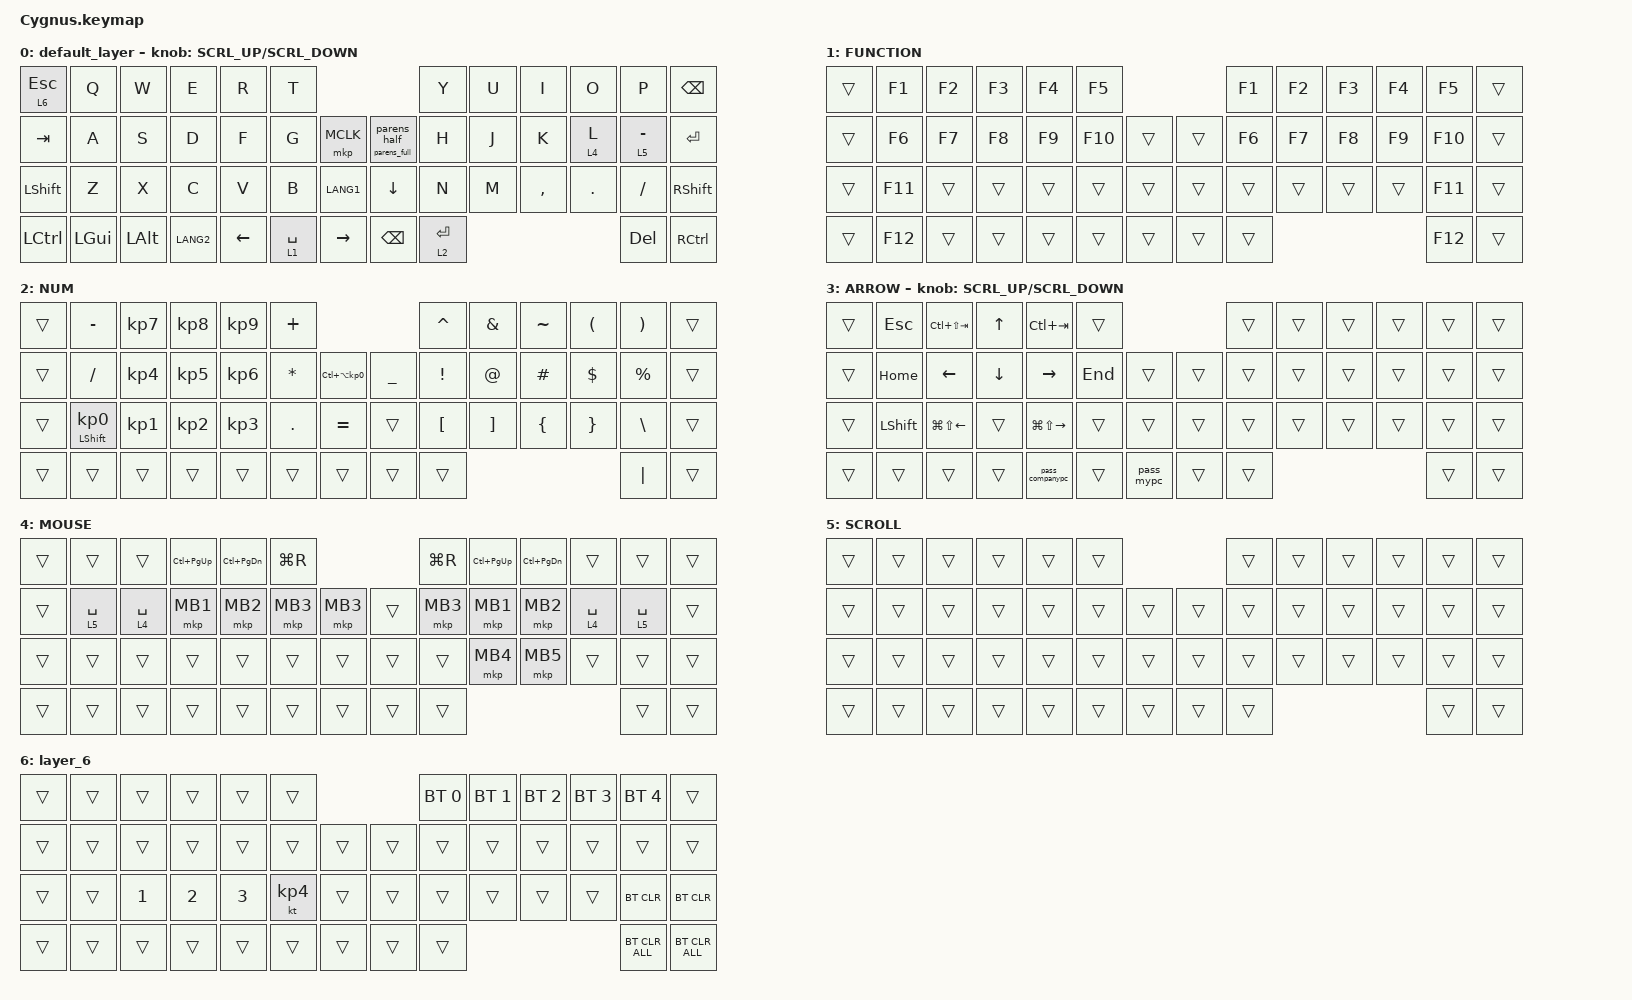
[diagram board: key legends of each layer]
#define ZMK_POINTING_DEFAULT_SCRL_VAL 300    // default: 10

#include <behaviors.dtsi>
#include <dt-bindings/zmk/bt.h>
#include <dt-bindings/zmk/keys.h>
#include <dt-bindings/zmk/pointing.h>

#define MOUSE 4
#define SCROLL 5
#define NUM 6

&mt {
    flavor = "balanced";
    quick-tap-ms = <0>;
};

/ {
    combos {
        compatible = "zmk,combos";

        double_quotation {
            bindings = <&kp DOUBLE_QUOTES>;
            key-positions = <20 21>;
        };

        // J(21) + K(22) で左クリック
        left_click {
            bindings = <&mkp MB1>;
            key-positions = <21 22>;
        };

        // K(22) + L(23) で右クリック
        right_click {
            bindings = <&mkp MB2>;
            key-positions = <22 23>;
        };

        // U(7) + I(8) で Cmd + 左クリック
        cmd_left_click {
            bindings = <&cmd_click>;
            key-positions = <7 8>;
        };
    };

    macros {
        to_layer_0: to_layer_0 {
            compatible = "zmk,behavior-macro-one-param";
            #binding-cells = <1>;
            bindings = <&to 0 &macro_param_1to1 &kp MACRO_PLACEHOLDER>;
            label = "TO_LAYER_0";
        };

        pass_mypc: pass_mypc {
            compatible = "zmk,behavior-macro";
            #binding-cells = <0>;
            tap-ms = <30>;
            wait-ms = <30>;
            bindings
                = <&macro_tap &kp S &kp K &kp N5 &kp N0 &kp N2 &kp N1 &kp K &kp T>
                , <&macro_tap &kp ENTER>; // 不要なら削除
        };

        pass_companypc: pass_companypc {
            compatible = "zmk,behavior-macro";
            #binding-cells = <0>;
            tap-ms = <30>;
            wait-ms = <30>;
            bindings
                = <&macro_tap &kp LS(S) &kp K &kp N5 &kp N0 &kp N2 &kp N1 &kp K &kp T &kp O &kp K &kp O &kp K &kp EXCLAMATION>
                , <&macro_tap &kp ENTER>; // 不要ならこの行を削除
        };
        
        cmd_click: cmd_click {
            compatible = "zmk,behavior-macro";
            #binding-cells = <0>;
            tap-ms = <20>;
            wait-ms = <20>;
            bindings
                = <&macro_press &kp LGUI>
                , <&macro_tap &mkp MB1>
                , <&macro_release &kp LGUI>;
        };

        // 【単押し用】 半角カッコ (LANG2 -> ( -> ) -> ←)
        parens_half: parens_half {
            compatible = "zmk,behavior-macro";
            #binding-cells = <0>;
            tap-ms = <10>;
            wait-ms = <10>;
            bindings
                = <&kp LANG2>
                , <&kp LEFT_PARENTHESIS>
                , <&kp RIGHT_PARENTHESIS>
                , <&kp LEFT_ARROW>;
        };

        // 【長押し用】 全角カッコ (LANG1 -> ( -> ) -> ENTER -> ←)
        parens_full: parens_full {
            compatible = "zmk,behavior-macro";
            #binding-cells = <0>;
            tap-ms = <10>;
            wait-ms = <10>;
            bindings
                = <&kp LANG1>
                , <&kp LEFT_PARENTHESIS>
                , <&kp RIGHT_PARENTHESIS>
                , <&kp ENTER>
                , <&kp LEFT_ARROW>;
        };
    };

    behaviors {
        lt_to_layer_0: lt_to_layer_0 {
            compatible = "zmk,behavior-hold-tap";
            label = "LAYER_TAP_TO_0";
            bindings = <&mo>, <&to_layer_0>;

            #binding-cells = <2>;
            tapping-term-ms = <200>;
        };

        ROTATE: ROTATE {
            compatible = "zmk,behavior-sensor-rotate-var";
            label = "ROTATE";
            #sensor-binding-cells = <2>;
            bindings = <&msc>, <&msc>;

            tap-ms = <20>;
        };

        // 単押しと長押しを振り分ける設定
        ht_parens: ht_parens {
            compatible = "zmk,behavior-hold-tap";
            label = "HT_PARENS";
            #binding-cells = <2>;
            tapping-term-ms = <200>;  // 200ミリ秒以上押すと長押し判定
            flavor = "tap-preferred"; // 通常のタイピングを優先
            bindings = <&parens_full>, <&parens_half>; // <長押しの動作>, <単押しの動作>
        };
    };

    keymap {
        compatible = "zmk,keymap";

        default_layer {
            bindings = <
&lt 6 ESC  &kp Q     &kp W     &kp E      &kp R           &kp T                                           &kp Y        &kp U  &kp I      &kp O    &kp P        &kp BSPC
&kp TAB    &kp A     &kp S     &kp D      &kp F           &kp G        &mkp MCLK          &ht_parens 0 0  &kp H        &kp J  &kp K      &lt 4 L  &lt 5 MINUS  &kp ENTER
&kp LSHFT  &kp Z     &kp X     &kp C      &kp V           &kp B        &kp LANG1          &kp DOWN_ARROW  &kp N        &kp M  &kp COMMA  &kp DOT  &kp FSLH     &kp RSHFT
&kp LCTRL  &kp LGUI  &kp LALT  &kp LANG2  &kp LEFT_ARROW  &lt 1 SPACE  &kp RIGHT_ARROW    &kp BACKSPACE   &lt 2 ENTER                             &kp DEL      &kp RCTRL
            >;

            sensor-bindings = <&ROTATE SCRL_UP SCRL_DOWN>;
        };

        FUNCTION {
            bindings = <
&trans  &kp F1   &kp F2  &kp F3  &kp F4  &kp F5                     &kp F1  &kp F2  &kp F3  &kp F4  &kp F5   &trans
&trans  &kp F6   &kp F7  &kp F8  &kp F9  &kp F10  &trans    &trans  &kp F6  &kp F7  &kp F8  &kp F9  &kp F10  &trans
&trans  &kp F11  &trans  &trans  &trans  &trans   &trans    &trans  &trans  &trans  &trans  &trans  &kp F11  &trans
&trans  &kp F12  &trans  &trans  &trans  &trans   &trans    &trans  &trans                          &kp F12  &trans
            >;
        };

        NUM {
            bindings = <
&trans  &kp MINUS                   &kp KP_NUMBER_7  &kp KP_NUMBER_8  &kp KP_NUMBER_9  &kp PLUS                                                 &kp CARET         &kp AMPERSAND      &kp TILDE       &kp LEFT_PARENTHESIS  &kp RIGHT_PARENTHESIS  &trans
&trans  &kp SLASH                   &kp KP_NUMBER_4  &kp KP_NUMBER_5  &kp KP_NUMBER_6  &kp ASTERISK  &kp LC(LA(KP_NUMBER_0))    &kp UNDERSCORE  &kp EXCLAMATION   &kp AT_SIGN        &kp HASH        &kp DOLLAR            &kp PERCENT            &trans
&trans  &mt LEFT_SHIFT KP_NUMBER_0  &kp KP_NUMBER_1  &kp KP_NUMBER_2  &kp KP_NUMBER_3  &kp PERIOD    &kp EQUAL                  &trans          &kp LEFT_BRACKET  &kp RIGHT_BRACKET  &kp LEFT_BRACE  &kp RIGHT_BRACE       &kp BACKSLASH          &trans
&trans  &trans                      &trans           &trans           &trans           &trans        &trans                     &trans          &trans                                                                     &kp PIPE               &trans
            >;
        };

        ARROW {
            bindings = <
&trans  &kp ESCAPE      &kp LC(LS(TAB))         &kp UP_ARROW    &kp LC(TAB)              &trans                       &trans  &trans  &trans  &trans  &trans  &trans
&trans  &kp HOME        &kp LEFT_ARROW          &kp DOWN_ARROW  &kp RIGHT_ARROW          &kp END  &trans      &trans  &trans  &trans  &trans  &trans  &trans  &trans
&trans  &kp LEFT_SHIFT  &kp LG(LS(LEFT_ARROW))  &trans          &kp LG(LS(RIGHT_ARROW))  &trans   &trans      &trans  &trans  &trans  &trans  &trans  &trans  &trans
&trans  &trans          &trans                  &trans          &pass_companypc          &trans   &pass_mypc  &trans  &trans                          &trans  &trans
            >;

            sensor-bindings = <&ROTATE SCRL_UP SCRL_DOWN>;
        };

        MOUSE {
            bindings = <
&trans  &trans       &trans       &kp LC(PAGE_UP)  &kp LC(PAGE_DOWN)  &kp LG(R)                      &kp LG(R)  &kp LC(PAGE_UP)  &kp LC(PAGE_DOWN)  &trans       &trans       &trans
&trans  &lt 5 SPACE  &lt 4 SPACE  &mkp MB1         &mkp MB2           &mkp MB3   &mkp MB3    &trans  &mkp MB3   &mkp MB1         &mkp MB2           &lt 4 SPACE  &lt 5 SPACE  &trans
&trans  &trans       &trans       &trans           &trans             &trans     &trans      &trans  &trans     &mkp MB4         &mkp MB5           &trans       &trans       &trans
&trans  &trans       &trans       &trans           &trans             &trans     &trans      &trans  &trans                                                      &trans       &trans
            >;
        };

        SCROLL {
            bindings = <
&trans  &trans  &trans  &trans  &trans  &trans                    &trans  &trans  &trans  &trans  &trans  &trans
&trans  &trans  &trans  &trans  &trans  &trans  &trans    &trans  &trans  &trans  &trans  &trans  &trans  &trans
&trans  &trans  &trans  &trans  &trans  &trans  &trans    &trans  &trans  &trans  &trans  &trans  &trans  &trans
&trans  &trans  &trans  &trans  &trans  &trans  &trans    &trans  &trans                          &trans  &trans
            >;
        };

        layer_6 {
            bindings = <
&trans  &trans  &trans        &trans        &trans        &trans                       &bt BT_SEL 0  &bt BT_SEL 1  &bt BT_SEL 2  &bt BT_SEL 3  &bt BT_SEL 4    &trans
&trans  &trans  &trans        &trans        &trans        &trans     &trans    &trans  &trans        &trans        &trans        &trans        &trans          &trans
&trans  &trans  &kp NUMBER_1  &kp NUMBER_2  &kp NUMBER_3  &kt KP_N4  &trans    &trans  &trans        &trans        &trans        &trans        &bt BT_CLR      &bt BT_CLR
&trans  &trans  &trans        &trans        &trans        &trans     &trans    &trans  &trans                                                  &bt BT_CLR_ALL  &bt BT_CLR_ALL
            >;
        };
    };
};
